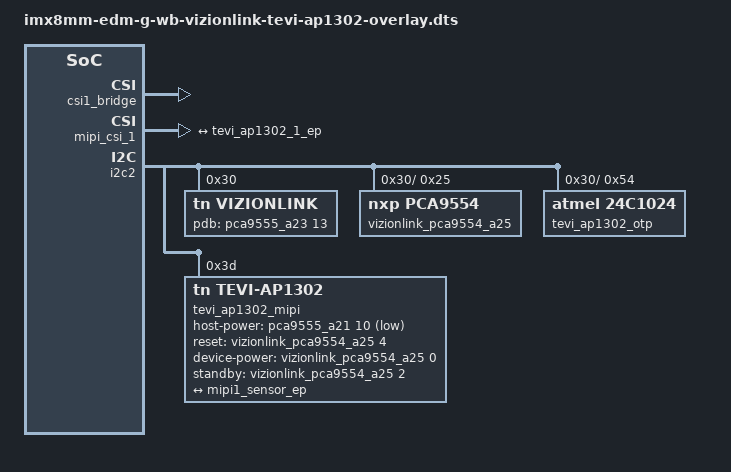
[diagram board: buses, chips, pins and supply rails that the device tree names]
// SPDX-License-Identifier: (GPL-2.0+ OR MIT)
/*
 * Copyright 2023 TechNexion Ltd.
 *

 */

/dts-v1/;
/plugin/;

#include <dt-bindings/interrupt-controller/irq.h>
#include <dt-bindings/clock/imx8mm-clock.h>
#include <dt-bindings/gpio/gpio.h>

/ {
	fragment@0 {
		target = <&csi1_bridge>;
		__overlay__ {
			status = "okay";
		};
	};

	fragment@1 {
		target = <&mipi_csi_1>;
		__overlay__ {
			status = "okay";
			#address-cells = <1>;
			#size-cells = <0>;

			port {
				mipi1_sensor_ep: endpoint@1 {
					remote-endpoint = <&tevi_ap1302_1_ep>;
					data-lanes = <2>;
					csis-hs-settle = <19>;
					csis-clk-settle = <2>;
					csis-wclk;
				};
			};
		};
	};

	fragment@2 {
		target = <&i2c2>;
		__overlay__ {
			#address-cells = <1>;
			#size-cells = <0>;

			vizionlink: vizionlink@30 {
				compatible = "tn,vizionlink";
				reg = <0x30>;
				pdb-gpios = <&pca9555_a23 13 GPIO_ACTIVE_HIGH>;
				ser_alias_id = <0x1b>;

				//i2c addr alias map "gpio extender, eeprom , sensor"
				i2c_addr_alias_map_local = <0x25 0x54 0x55 0x3d>;
				i2c_addr_alias_map_remote = <0x25 0x54 0x55 0x3d>;

				//deserializer output csi lanes 1~4. default 4
				des_csi_lanes = <2>;

				//1: Enable 0: Disable continuous clock. default 0
				des_csi_continuous_clock = <0>;

				//serializer input csi lanes 1~4. default 4
				ser_csi_lanes = <2>;

				//1: Enable 0: Disable continuous clock. default 0
				ser_csi_continuous_clock = <0>;

				status = "okay";

				i2c_dev_list {
					#address-cells = <1>;
					#size-cells = <0>;

					vizionlink_pca9554_a25: vizionlink_pca9554@25 {
						compatible = "nxp,pca9554";
						reg = <0x25>;
						gpio-controller;
						#gpio-cells = <2>;
						status = "okay";
					};

					tevi_ap1302_otp: tevi_ap1302_otp@54 {
						compatible = "atmel,24c1024";
						pagesize = <256>;
						reg = <0x54>;
					};
				};
			};

			tevi_ap1302_mipi: tevi_ap1302_mipi@3d {
				compatible = "tn,tevi-ap1302";

				reg = <0x3d>;

				pinctrl-names = "default";
				pinctrl-0 = <&pinctrl_csi_rst>;
				host-power-gpios = <&pca9555_a21 10 GPIO_ACTIVE_LOW>;
				reset-gpios = <&vizionlink_pca9554_a25 4 GPIO_ACTIVE_HIGH>;
				device-power-gpios = <&vizionlink_pca9554_a25 0 GPIO_ACTIVE_HIGH>;
				standby-gpios = <&vizionlink_pca9554_a25 2 GPIO_ACTIVE_HIGH>;
				nvmem = <&tevi_ap1302_otp>;
				nvmem-names = "calib-data";
				data-lanes = <2>;
				continuous-clock = <0>;
				supports-over-4k-res;
				status = "okay";

				port {
					tevi_ap1302_1_ep: endpoint {
						remote-endpoint = <&mipi1_sensor_ep>;
					};
				};
			};
		};
	};
};
